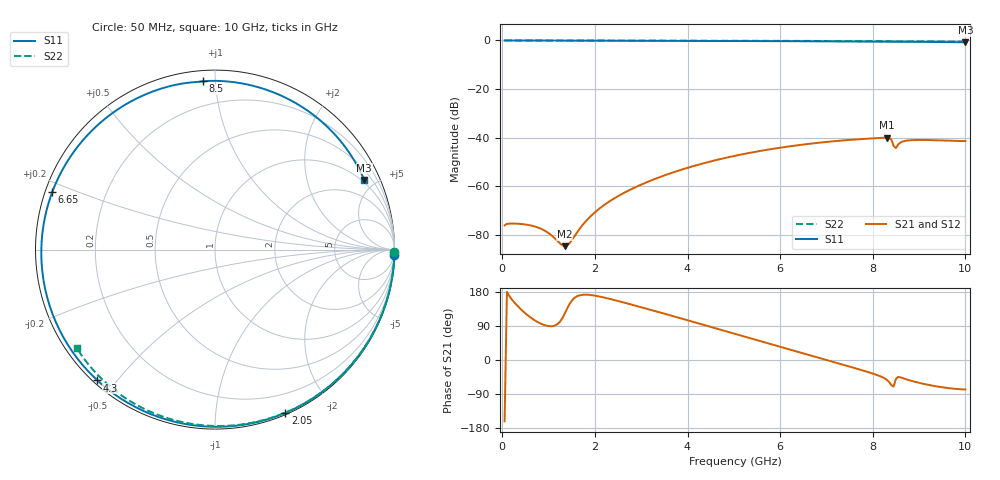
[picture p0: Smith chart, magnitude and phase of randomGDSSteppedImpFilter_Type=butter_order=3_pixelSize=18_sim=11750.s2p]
! freq	dB(S11)	phase(S11)	dB(S12)	phase(S12)
!  dB(S21)	phase(S21)	dB(S22)	phase(S22)
!S-par simulation data
#  GHz  S  DB  R 50
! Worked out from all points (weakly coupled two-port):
!   200 points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, 50 MHz to 10 GHz, reference 50 ohm
!   highest |S21| = -39.93 dB at 8.3 GHz (marker M1); lowest = -84.6 dB at 1.35 GHz (marker M2)
!   lowest |S11| = -0.7 dB at 10 GHz (marker M3), VSWR 23.31, Z = 44 + j217 ohm
!   |S11| at or under -10 dB: nowhere
!   |S22| runs from -0.5 to 0.0 dB; largest |S21 - S12| = 0
!   S11 on the Smith chart (normalised r, x): 50 MHz: 0, -68; 2.05 GHz: 0.02, -1.52; 4.3 GHz: 0.01, -0.45; 6.65 GHz: 0.02, +0.17; 8.5 GHz: 0.06, +0.93; 10 GHz: 0.88, +4.34
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0.05  -0.00 -1.7  -76.03 -161.8  -76.03 -161.8  -0.00 -0.8
0.55  -0.02 -18.5  -75.82 117.9  -75.82 117.9  -0.01 -9.2
1.05  -0.04 -35.0  -79.94 89.0  -79.94 89.0  -0.02 -17.5
1.35  -0.06 -44.7  -84.59 122.9  -84.59 122.9  -0.03 -22.4
1.55  -0.06 -51.1  -80.74 162.9  -80.74 162.9  -0.03 -25.7
1.75  -0.07 -57.4  -75.51 172.2  -75.51 172.2  -0.04 -29.0
2.05  -0.08 -66.7  -69.86 168.7  -69.86 168.7  -0.04 -33.8
2.6  -0.10 -83.4  -62.96 152.4  -62.96 152.4  -0.05 -42.6
3.4  -0.13 -106.7  -56.19 125.6  -56.19 125.6  -0.07 -55.0
4.3  -0.18 -131.9  -50.74 94.5  -50.74 94.5  -0.10 -68.5
5.05  -0.22 -152.8  -47.32 68.1  -47.32 68.1  -0.12 -79.4
5.85  -0.27 -175.4  -44.54 40.0  -44.54 40.0  -0.15 -90.6
6.65  -0.34 160.5  -42.45 12.3  -42.45 12.3  -0.20 -101.5
6.7  -0.34 158.9  -42.34 10.5  -42.34 10.5  -0.20 -102.2
7.5  -0.42 132.3  -40.89 -17.4  -40.89 -17.4  -0.25 -112.7
8.3  -0.51 102.1  -39.93 -51.9  -39.93 -51.9  -0.31 -123.2
8.35  -0.52 100.1  -40.00 -57.5  -40.00 -57.5  -0.32 -123.9
8.5  -0.54 94.1  -44.25 -49.9  -44.25 -49.9  -0.37 -125.5
8.6  -0.54 89.9  -41.93 -45.9  -41.93 -45.9  -0.36 -126.8
8.7  -0.54 85.6  -41.28 -50.1  -41.28 -50.1  -0.36 -128.1
9.25  -0.61 61.0  -40.97 -66.8  -40.97 -66.8  -0.41 -135.1
10  -0.75 25.0  -41.36 -77.8  -41.36 -77.8  -0.49 -144.7
